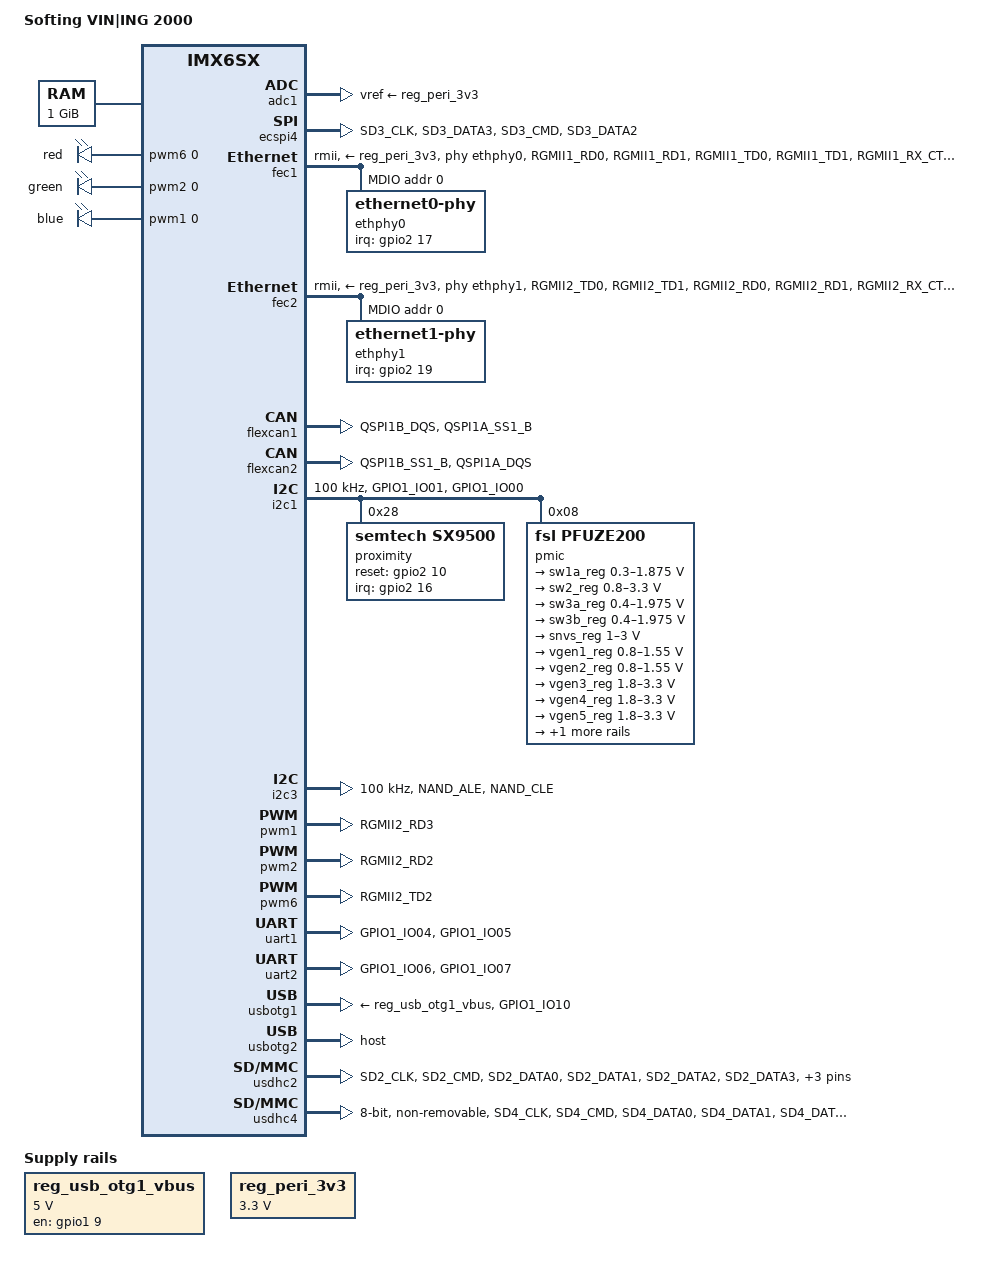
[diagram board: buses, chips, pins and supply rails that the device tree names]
// SPDX-License-Identifier: GPL-2.0-only
/*
 * Copyright (C) 2016 Christoph Fritz <chf.fritz@googlemail.com>
 */

/dts-v1/;

#include <dt-bindings/gpio/gpio.h>
#include <dt-bindings/input/input.h>
#include "imx6sx.dtsi"

/ {
	model = "Softing VIN|ING 2000";
	compatible = "samtec,imx6sx-vining-2000", "fsl,imx6sx";

	chosen {
		stdout-path = &uart1;
	};

	memory@80000000 {
		device_type = "memory";
		reg = <0x80000000 0x40000000>;
	};

	reg_usb_otg1_vbus: regulator-usb_otg1_vbus {
		compatible = "regulator-fixed";
		regulator-name = "usb_otg1_vbus";
		pinctrl-names = "default";
		pinctrl-0 = <&pinctrl_usb_otg1>;
		regulator-min-microvolt = <5000000>;
		regulator-max-microvolt = <5000000>;
		gpio = <&gpio1 9 GPIO_ACTIVE_HIGH>;
		enable-active-high;
	};

	reg_peri_3v3: regulator-peri_3v3 {
		compatible = "regulator-fixed";
		regulator-name = "peri_3v3";
		regulator-min-microvolt = <3300000>;
		regulator-max-microvolt = <3300000>;
	};

	pwmleds {
		compatible = "pwm-leds";

		red {
			label = "red";
			max-brightness = <255>;
			pwms = <&pwm6 0 50000>;
		};

		green {
			label = "green";
			max-brightness = <255>;
			pwms = <&pwm2 0 50000>;
		};

		blue {
			label = "blue";
			max-brightness = <255>;
			pwms = <&pwm1 0 50000>;
		};
	};
};

&adc1 {
	vref-supply = <&reg_peri_3v3>;
	status = "okay";
};

&cpu0 {
	/*
	 * This board has a shared rail of reg_arm and reg_soc (supplied by
	 * sw1a_reg) which is modeled below, but still this module behaves
	 * unstable without higher voltages. Hence, set higher voltages here.
	 */
	operating-points = <
		/* kHz    uV */
		996000  1250000
		792000  1175000
		396000  1175000
		198000  1175000
		>;
	fsl,soc-operating-points = <
		/* ARM kHz  SOC uV */
		996000	1250000
		792000	1175000
		396000	1175000
		198000  1175000
	>;
};

&ecspi4 {
	pinctrl-names = "default";
	pinctrl-0 = <&pinctrl_ecspi4>;
	cs-gpios = <&gpio7 4 GPIO_ACTIVE_HIGH>;
	status = "okay";
};

&fec1 {
	pinctrl-names = "default";
	pinctrl-0 = <&pinctrl_enet1>;
	phy-supply = <&reg_peri_3v3>;
	phy-reset-gpios = <&gpio5 9 GPIO_ACTIVE_LOW>;
	phy-reset-duration = <5>;
	phy-mode = "rmii";
	phy-handle = <&ethphy0>;
	status = "okay";

	mdio {
		#address-cells = <1>;
		#size-cells = <0>;

		ethphy0: ethernet0-phy@0 {
			reg = <0>;
			max-speed = <100>;
			interrupt-parent = <&gpio2>;
			interrupts = <17 IRQ_TYPE_LEVEL_LOW>;
		};
	};
};

&fec2 {
	pinctrl-names = "default";
	pinctrl-0 = <&pinctrl_enet2>;
	phy-supply = <&reg_peri_3v3>;
	phy-reset-gpios = <&gpio5 21 GPIO_ACTIVE_LOW>;
	phy-reset-duration = <5>;
	phy-mode = "rmii";
	phy-handle = <&ethphy1>;
	status = "okay";

	mdio {
		#address-cells = <1>;
		#size-cells = <0>;

		ethphy1: ethernet1-phy@0 {
			reg = <0>;
			max-speed = <100>;
			interrupt-parent = <&gpio2>;
			interrupts = <19 IRQ_TYPE_LEVEL_LOW>;
		};
	};
};

&flexcan1 {
	pinctrl-names = "default";
	pinctrl-0 = <&pinctrl_flexcan1>;
	status = "okay";
};

&flexcan2 {
	pinctrl-names = "default";
	pinctrl-0 = <&pinctrl_flexcan2>;
	status = "okay";
};

&i2c1 {
	clock-frequency = <100000>;
	pinctrl-names = "default";
	pinctrl-0 = <&pinctrl_i2c1>;
	status = "okay";

	proximity: sx9500@28 {
		compatible = "semtech,sx9500";
		reg = <0x28>;
		pinctrl-names = "default";
		pinctrl-0 = <&pinctrl_sx9500>;
		interrupt-parent = <&gpio2>;
		interrupts = <16 IRQ_TYPE_LEVEL_LOW>;
		reset-gpios = <&gpio2 10 GPIO_ACTIVE_HIGH>;
	};

	pmic: pfuze100@8 {
		compatible = "fsl,pfuze200";
		reg = <0x08>;

		regulators {
			sw1a_reg: sw1ab {
				regulator-min-microvolt = <300000>;
				regulator-max-microvolt = <1875000>;
				regulator-boot-on;
				regulator-always-on;
				regulator-ramp-delay = <6250>;
			};

			sw2_reg: sw2 {
				regulator-min-microvolt = <800000>;
				regulator-max-microvolt = <3300000>;
				regulator-boot-on;
				regulator-always-on;
			};

			sw3a_reg: sw3a {
				regulator-min-microvolt = <400000>;
				regulator-max-microvolt = <1975000>;
				regulator-boot-on;
				regulator-always-on;
			};

			sw3b_reg: sw3b {
				regulator-min-microvolt = <400000>;
				regulator-max-microvolt = <1975000>;
				regulator-boot-on;
				regulator-always-on;
			};

			snvs_reg: vsnvs {
				regulator-min-microvolt = <1000000>;
				regulator-max-microvolt = <3000000>;
				regulator-boot-on;
				regulator-always-on;
			};

			vref_reg: vrefddr {
				regulator-boot-on;
				regulator-always-on;
			};

			vgen1_reg: vgen1 {
				regulator-min-microvolt = <800000>;
				regulator-max-microvolt = <1550000>;
				regulator-always-on;
			};

			vgen2_reg: vgen2 {
				regulator-min-microvolt = <800000>;
				regulator-max-microvolt = <1550000>;
			};

			vgen3_reg: vgen3 {
				regulator-min-microvolt = <1800000>;
				regulator-max-microvolt = <3300000>;
				regulator-always-on;
			};

			vgen4_reg: vgen4 {
				regulator-min-microvolt = <1800000>;
				regulator-max-microvolt = <3300000>;
				regulator-always-on;
			};

			vgen5_reg: vgen5 {
				regulator-min-microvolt = <1800000>;
				regulator-max-microvolt = <3300000>;
				regulator-always-on;
			};

			vgen6_reg: vgen6 {
				regulator-min-microvolt = <1800000>;
				regulator-max-microvolt = <3300000>;
				regulator-always-on;
			};
		};
	};
};

&i2c3 {
	clock-frequency = <100000>;
	pinctrl-names = "default";
	pinctrl-0 = <&pinctrl_i2c3>;
	status = "okay";
};

&iomuxc {
	pinctrl-names = "default";
	pinctrl-0 = <&pinctrl_gpios>;

	pinctrl_ecspi4: ecspi4grp {
		fsl,pins = <
			MX6SX_PAD_SD3_CLK__ECSPI4_SCLK		0x130b1
			MX6SX_PAD_SD3_DATA3__ECSPI4_MISO	0x130b1
			MX6SX_PAD_SD3_CMD__ECSPI4_MOSI		0x130b1
			MX6SX_PAD_SD3_DATA2__GPIO7_IO_4		0x30b0
		>;
	};

	pinctrl_enet1: enet1grp {
		fsl,pins = <
			MX6SX_PAD_RGMII1_RD0__ENET1_RX_DATA_0	0x30c1
			MX6SX_PAD_RGMII1_RD1__ENET1_RX_DATA_1	0x30c1
			MX6SX_PAD_RGMII1_TD0__ENET1_TX_DATA_0	0xa0f9
			MX6SX_PAD_RGMII1_TD1__ENET1_TX_DATA_1	0xa0f9
			MX6SX_PAD_RGMII1_RX_CTL__ENET1_RX_EN	0x30c1
			MX6SX_PAD_RGMII1_TX_CTL__ENET1_TX_EN	0xa0f9
			MX6SX_PAD_ENET1_TX_CLK__ENET1_REF_CLK1	0x4000a038
			/* LAN8720 PHY Reset */
			MX6SX_PAD_RGMII1_TD3__GPIO5_IO_9	0x10b0
			/* MDIO */
			MX6SX_PAD_ENET1_MDC__ENET1_MDC		0xa0f9
			MX6SX_PAD_ENET1_MDIO__ENET1_MDIO	0xa0f9
			/* IRQ from PHY */
			MX6SX_PAD_KEY_ROW2__GPIO2_IO_17		0x10b0
		>;
	};

	pinctrl_enet2: enet2grp {
		fsl,pins = <
			MX6SX_PAD_RGMII2_TD0__ENET2_TX_DATA_0	0x1b0b0
			MX6SX_PAD_RGMII2_TD1__ENET2_TX_DATA_1	0x1b0b0
			MX6SX_PAD_RGMII2_RD0__ENET2_RX_DATA_0	0x1b0b0
			MX6SX_PAD_RGMII2_RD1__ENET2_RX_DATA_1	0x1b0b0
			MX6SX_PAD_RGMII2_RX_CTL__ENET2_RX_EN	0x1b0b0
			MX6SX_PAD_RGMII2_TX_CTL__ENET2_TX_EN	0x1b0b0
			MX6SX_PAD_ENET2_TX_CLK__ENET2_REF_CLK2	0x4000a038
			/* LAN8720 PHY Reset */
			MX6SX_PAD_RGMII2_TD3__GPIO5_IO_21	0x10b0
			/* MDIO */
			MX6SX_PAD_ENET1_COL__ENET2_MDC		0xa0f9
			MX6SX_PAD_ENET1_CRS__ENET2_MDIO		0xa0f9
			/* IRQ from PHY */
			MX6SX_PAD_KEY_ROW4__GPIO2_IO_19		0x10b0
		>;
	};

	pinctrl_flexcan1: flexcan1grp {
		fsl,pins = <
			MX6SX_PAD_QSPI1B_DQS__CAN1_TX		0x1b0b0
			MX6SX_PAD_QSPI1A_SS1_B__CAN1_RX		0x1b0b0
		>;
	};

	pinctrl_flexcan2: flexcan2grp {
		fsl,pins = <
			MX6SX_PAD_QSPI1B_SS1_B__CAN2_RX		0x1b0b0
			MX6SX_PAD_QSPI1A_DQS__CAN2_TX		0x1b0b0
		>;
	};

	pinctrl_gpios: gpiosgrp {
		fsl,pins = <
			/* reset external uC */
			MX6SX_PAD_QSPI1A_DATA3__GPIO4_IO_19	0x10b0
			/* IRQ from external uC */
			MX6SX_PAD_KEY_ROW0__GPIO2_IO_15		0x10b0
			/* overcurrent detection */
			MX6SX_PAD_GPIO1_IO08__GPIO1_IO_8	0x10b0
		>;
	};

	pinctrl_i2c1: i2c1grp {
		fsl,pins = <
			MX6SX_PAD_GPIO1_IO01__I2C1_SDA		0x4001b8b1
			MX6SX_PAD_GPIO1_IO00__I2C1_SCL		0x4001b8b1
		>;
	};

	pinctrl_i2c3: i2c3grp {
		fsl,pins = <
			MX6SX_PAD_NAND_ALE__I2C3_SDA		0x4001b8b1
			MX6SX_PAD_NAND_CLE__I2C3_SCL		0x4001b8b1
		>;
	};

	pinctrl_pwm1: pwm1grp-1 {
		fsl,pins = <
			/* blue LED */
			MX6SX_PAD_RGMII2_RD3__PWM1_OUT		0x1b0b1
		>;
	};

	pinctrl_pwm2: pwm2grp-1 {
		fsl,pins = <
			/* green LED */
			MX6SX_PAD_RGMII2_RD2__PWM2_OUT		0x1b0b1
		>;
	};

	pinctrl_pwm6: pwm6grp-1 {
		fsl,pins = <
			/* red LED */
			MX6SX_PAD_RGMII2_TD2__PWM6_OUT		0x1b0b1
		>;
	};

	pinctrl_sx9500: sx9500grp {
		fsl,pins = <
			/* Reset */
			MX6SX_PAD_KEY_COL0__GPIO2_IO_10		0x838
			/* IRQ */
			MX6SX_PAD_KEY_ROW1__GPIO2_IO_16		0x70e0
		>;
	};

	pinctrl_uart1: uart1grp {
		fsl,pins = <
			MX6SX_PAD_GPIO1_IO04__UART1_DCE_TX	0x1b0b1
			MX6SX_PAD_GPIO1_IO05__UART1_DCE_RX	0x1b0b1
		>;
	};

	pinctrl_uart2: uart2grp {
		fsl,pins = <
			MX6SX_PAD_GPIO1_IO06__UART2_DCE_TX	0x1b0b1
			MX6SX_PAD_GPIO1_IO07__UART2_DCE_RX	0x1b0b1
		>;
	};

	pinctrl_usb_otg1: usbotg1grp {
		fsl,pins = <
			MX6SX_PAD_GPIO1_IO09__GPIO1_IO_9	0x10b0
		>;
	};

	pinctrl_usb_otg1_id: usbotg1idgrp {
		fsl,pins = <
			MX6SX_PAD_GPIO1_IO10__ANATOP_OTG1_ID	0x17059
		>;
	};

	pinctrl_usdhc2_50mhz: usdhc2grp-50mhz {
		fsl,pins = <
			MX6SX_PAD_SD2_CLK__USDHC2_CLK		0x10059
			MX6SX_PAD_SD2_CMD__USDHC2_CMD		0x17059
			MX6SX_PAD_SD2_DATA0__USDHC2_DATA0	0x17059
			MX6SX_PAD_SD2_DATA1__USDHC2_DATA1	0x17059
			MX6SX_PAD_SD2_DATA2__USDHC2_DATA2	0x17059
			MX6SX_PAD_SD2_DATA3__USDHC2_DATA3	0x17059
			MX6SX_PAD_LCD1_VSYNC__GPIO3_IO_28	0x1b000
			MX6SX_PAD_LCD1_HSYNC__GPIO3_IO_26	0x10b0
		>;
	};

	pinctrl_usdhc2_100mhz: usdhc2grp-100mhz {
		fsl,pins = <
			MX6SX_PAD_SD2_CLK__USDHC2_CLK		0x100b9
			MX6SX_PAD_SD2_CMD__USDHC2_CMD		0x170b9
			MX6SX_PAD_SD2_DATA0__USDHC2_DATA0	0x170b9
			MX6SX_PAD_SD2_DATA1__USDHC2_DATA1	0x170b9
			MX6SX_PAD_SD2_DATA2__USDHC2_DATA2	0x170b9
			MX6SX_PAD_SD2_DATA3__USDHC2_DATA3	0x170b9
		>;
	};

	pinctrl_usdhc2_200mhz: usdhc2grp-200mhz {
		fsl,pins = <
			MX6SX_PAD_SD2_CLK__USDHC2_CLK		0x100f9
			MX6SX_PAD_SD2_CMD__USDHC2_CMD		0x170f9
			MX6SX_PAD_SD2_DATA0__USDHC2_DATA0	0x170f9
			MX6SX_PAD_SD2_DATA1__USDHC2_DATA1	0x170f9
			MX6SX_PAD_SD2_DATA2__USDHC2_DATA2	0x170f9
			MX6SX_PAD_SD2_DATA3__USDHC2_DATA3	0x170f9
		>;
	};

	pinctrl_usdhc4_50mhz: usdhc4grp-50mhz {
		fsl,pins = <
			MX6SX_PAD_SD4_CLK__USDHC4_CLK		0x10059
			MX6SX_PAD_SD4_CMD__USDHC4_CMD		0x17059
			MX6SX_PAD_SD4_DATA0__USDHC4_DATA0	0x17059
			MX6SX_PAD_SD4_DATA1__USDHC4_DATA1	0x17059
			MX6SX_PAD_SD4_DATA2__USDHC4_DATA2	0x17059
			MX6SX_PAD_SD4_DATA3__USDHC4_DATA3	0x17059
			MX6SX_PAD_SD4_DATA4__USDHC4_DATA4	0x17059
			MX6SX_PAD_SD4_DATA5__USDHC4_DATA5	0x17059
			MX6SX_PAD_SD4_DATA6__USDHC4_DATA6	0x17059
			MX6SX_PAD_SD4_DATA7__USDHC4_DATA7	0x17059
			MX6SX_PAD_SD4_RESET_B__USDHC4_RESET_B	0x17068
		>;
	};

	pinctrl_usdhc4_100mhz: usdhc4-100mhz {
		fsl,pins = <
			MX6SX_PAD_SD4_CLK__USDHC4_CLK		0x100b9
			MX6SX_PAD_SD4_CMD__USDHC4_CMD		0x170b9
			MX6SX_PAD_SD4_DATA0__USDHC4_DATA0	0x170b9
			MX6SX_PAD_SD4_DATA1__USDHC4_DATA1	0x170b9
			MX6SX_PAD_SD4_DATA2__USDHC4_DATA2	0x170b9
			MX6SX_PAD_SD4_DATA3__USDHC4_DATA3	0x170b9
			MX6SX_PAD_SD4_DATA4__USDHC4_DATA4	0x170b9
			MX6SX_PAD_SD4_DATA5__USDHC4_DATA5	0x170b9
			MX6SX_PAD_SD4_DATA6__USDHC4_DATA6	0x170b9
			MX6SX_PAD_SD4_DATA7__USDHC4_DATA7	0x170b9
		>;
	};

	pinctrl_usdhc4_200mhz: usdhc4-200mhz {
		fsl,pins = <
			MX6SX_PAD_SD4_CLK__USDHC4_CLK		0x100f9
			MX6SX_PAD_SD4_CMD__USDHC4_CMD		0x170f9
			MX6SX_PAD_SD4_DATA0__USDHC4_DATA0	0x170f9
			MX6SX_PAD_SD4_DATA1__USDHC4_DATA1	0x170f9
			MX6SX_PAD_SD4_DATA2__USDHC4_DATA2	0x170f9
			MX6SX_PAD_SD4_DATA3__USDHC4_DATA3	0x170f9
			MX6SX_PAD_SD4_DATA4__USDHC4_DATA4	0x170f9
			MX6SX_PAD_SD4_DATA5__USDHC4_DATA5	0x170f9
			MX6SX_PAD_SD4_DATA6__USDHC4_DATA6	0x170f9
			MX6SX_PAD_SD4_DATA7__USDHC4_DATA7	0x170f9
		>;
	};
};

&pwm1 {
	pinctrl-names = "default";
	pinctrl-0 = <&pinctrl_pwm1>;
	status = "okay";
};

&pwm2 {
	pinctrl-names = "default";
	pinctrl-0 = <&pinctrl_pwm2>;
	status = "okay";
};

&pwm6 {
	pinctrl-names = "default";
	pinctrl-0 = <&pinctrl_pwm6>;
	status = "okay";
};

&reg_arm {
	vin-supply = <&sw1a_reg>;
};

&reg_soc {
	vin-supply = <&sw1a_reg>;
};

&snvs_poweroff {
	status = "okay";
};

&uart1 {
	pinctrl-names = "default";
	pinctrl-0 = <&pinctrl_uart1>;
	status = "okay";
};

&uart2 {
	pinctrl-names = "default";
	pinctrl-0 = <&pinctrl_uart2>;
	status = "okay";
};

&usbotg1 {
	vbus-supply = <&reg_usb_otg1_vbus>;
	pinctrl-names = "default";
	pinctrl-0 = <&pinctrl_usb_otg1_id>;
	status = "okay";
};

&usbotg2 {
	dr_mode = "host";
	status = "okay";
};

&usdhc2 {
	pinctrl-names = "default", "state_100mhz", "state_200mhz";
	pinctrl-0 = <&pinctrl_usdhc2_50mhz>;
	pinctrl-1 = <&pinctrl_usdhc2_100mhz>;
	pinctrl-2 = <&pinctrl_usdhc2_200mhz>;
	cd-gpios = <&gpio3 28 GPIO_ACTIVE_LOW>;
	keep-power-in-suspend;
	status = "okay";
};

&usdhc4 {
	/* hs200-mode is currently unsupported because Vccq is on 3.1V, but
	 * not on necessary 1.8V.
	 */
	pinctrl-names = "default", "state_100mhz", "state_200mhz";
	pinctrl-0 = <&pinctrl_usdhc4_50mhz>;
	pinctrl-1 = <&pinctrl_usdhc4_100mhz>;
	pinctrl-2 = <&pinctrl_usdhc4_200mhz>;
	bus-width = <8>;
	keep-power-in-suspend;
	non-removable;
	cap-mmc-hw-reset;
	status = "okay";
};
